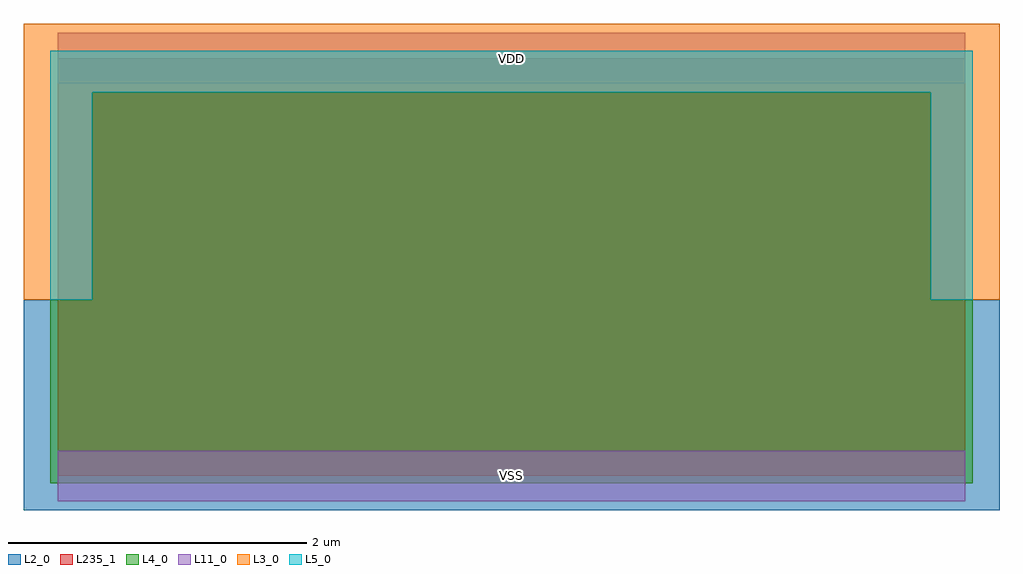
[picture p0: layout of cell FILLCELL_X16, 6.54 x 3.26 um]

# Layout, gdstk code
import gdstk
lib = gdstk.Library(unit=1e-6, precision=1e-09)
def R(c, l, rs):  # rectangles x0, y0, x1, y1
    for r in rs: c.add(gdstk.rectangle(r[:2], r[2:], *l))
def P(c, l, *ps):  # polygons
    for p in ps: c.add(gdstk.Polygon(p, *l))
L2_0 = (2, 0)
L3_0 = (3, 0)
L4_0 = (4, 0)
L5_0 = (5, 0)
L11_0 = (11, 0)
L235_1 = (235, 1)

fillcell_x16 = lib.new_cell('FILLCELL_X16')
P(fillcell_x16, L2_0, [(-0.23,-0.23),(6.31,-0.23),(6.31,1.18),(5.85,1.18),(5.85,2.57),(0.23,2.57),(0.23,1.18),(-0.23,1.18)])
P(fillcell_x16, L3_0, [(-0.23,1.18),(0.23,1.18),(0.23,2.57),(5.85,2.57),(5.85,1.18),(6.31,1.18),(6.31,3.03),(-0.23,3.03)])
P(fillcell_x16, L4_0, [(-0.05,-0.05),(6.13,-0.05),(6.13,1.18),(5.85,1.18),(5.85,2.57),(0.23,2.57),(0.23,1.18),(-0.05,1.18)])
P(fillcell_x16, L5_0, [(-0.05,1.18),(0.23,1.18),(0.23,2.57),(5.85,2.57),(5.85,1.18),(6.13,1.18),(6.13,2.85),(-0.05,2.85)])
R(fillcell_x16, L11_0, [(0,-0.17,6.08,0.17), (0,-0.17,6.08,0.17), (0,2.63,6.08,2.97), (0,2.63,6.08,2.97)])
R(fillcell_x16, L235_1, [(0,0,6.08,2.8)])
fillcell_x16.add(gdstk.Label('VSS', (3.04,0), layer=11, texttype=0))
fillcell_x16.add(gdstk.Label('VDD', (3.04,2.8), layer=11, texttype=0))

lib.write_gds('FILLCELL_X16.gds')
